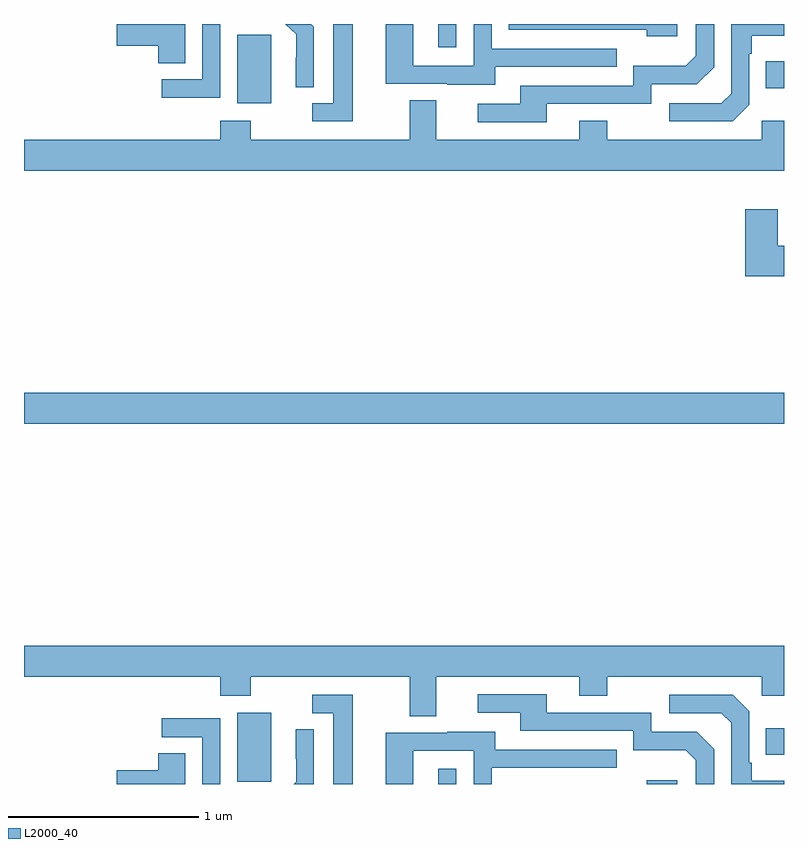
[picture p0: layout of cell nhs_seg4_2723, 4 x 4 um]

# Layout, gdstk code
import gdstk
lib = gdstk.Library(unit=1e-6, precision=1e-09)
def R(c, l, rs):  # rectangles x0, y0, x1, y1
    for r in rs: c.add(gdstk.rectangle(r[:2], r[2:], *l))
def P(c, l, *ps):  # polygons
    for p in ps: c.add(gdstk.Polygon(p, *l))
L2000_40 = (2000, 40)

nhs_seg4_2723 = lib.new_cell('nhs_seg4_2723')
R(nhs_seg4_2723, L2000_40, [(255.179,818.9,255.276,818.98), (256.277,818.9,256.438,818.92), (254.123,818.913,254.302,819.274), (256.903,819.053,257,819.193), (253,820.796,257,820.96), (254.123,822.482,254.302,822.843), (256.903,822.563,257,822.703), (255.179,822.777,255.276,822.9)])
P(nhs_seg4_2723, L2000_40, [(253.849,822.9),(253.488,822.9),(253.488,822.785),(253.706,822.785),(253.706,822.694),(253.849,822.694)],
  [(255.481,822.675),(256.121,822.675),(256.121,822.771),(255.462,822.771),(255.462,822.9),(255.366,822.9),(255.366,822.681),(255.048,822.681),(255.048,822.9),(254.903,822.9),(254.903,822.585),(255.227,822.585),(255.227,822.581),(255.481,822.581)],
  [(255.751,822.48),(256.302,822.48),(256.302,822.582),(256.542,822.582),(256.632,822.672),(256.632,822.9),(256.536,822.9),(256.536,822.732),(256.483,822.679),(256.206,822.679),(256.206,822.576),(255.611,822.576),(255.611,822.48),(255.387,822.48),(255.387,822.384),(255.751,822.384)],
  [(254.731,822.9),(254.627,822.9),(254.627,822.483),(254.517,822.483),(254.517,822.387),(254.731,822.387)],
  [(256.438,822.9),(255.552,822.9),(255.552,822.87),(256.277,822.87),(256.277,822.836),(256.438,822.836)],
  [(254.526,822.886),(254.512,822.9),(254.376,822.9),(254.432,822.845),(254.432,822.722),(254.43,822.722),(254.43,822.568),(254.526,822.568)],
  [(254.034,822.9),(253.938,822.9),(253.938,822.609),(253.725,822.609),(253.725,822.511),(254.034,822.511)],
  [(256.818,822.474),(256.818,822.743),(256.831,822.743),(256.831,822.839),(257,822.839),(257,822.9),(256.722,822.9),(256.722,822.534),(256.671,822.483),(256.395,822.483),(256.395,822.387),(256.731,822.387)],
  [(257,822.391),(256.884,822.391),(256.884,822.292),(256.071,822.292),(256.071,822.391),(255.923,822.391),(255.923,822.292),(255.169,822.292),(255.169,822.5),(255.029,822.5),(255.029,822.292),(254.193,822.292),(254.193,822.391),(254.033,822.391),(254.033,822.292),(253,822.292),(253,822.128),(257,822.128)],
  [(257,821.734),(256.966,821.734),(256.966,821.926),(256.796,821.926),(256.796,821.573),(257,821.573)],
  [(253,819.464),(254.033,819.464),(254.033,819.365),(254.193,819.365),(254.193,819.464),(255.029,819.464),(255.029,819.256),(255.169,819.256),(255.169,819.464),(255.923,819.464),(255.923,819.365),(256.071,819.365),(256.071,819.464),(256.884,819.464),(256.884,819.365),(257,819.365),(257,819.628),(253,819.628)],
  [(256.632,819.084),(256.542,819.174),(256.302,819.174),(256.302,819.276),(255.751,819.276),(255.751,819.372),(255.387,819.372),(255.387,819.276),(255.611,819.276),(255.611,819.18),(256.206,819.18),(256.206,819.077),(256.483,819.077),(256.536,819.024),(256.536,818.9),(256.632,818.9)],
  [(257,818.917),(256.831,818.917),(256.831,819.013),(256.818,819.013),(256.818,819.282),(256.731,819.369),(256.395,819.369),(256.395,819.273),(256.671,819.273),(256.722,819.222),(256.722,818.9),(257,818.9)],
  [(254.731,819.369),(254.517,819.369),(254.517,819.273),(254.627,819.273),(254.627,818.9),(254.731,818.9)],
  [(254.034,819.246),(253.725,819.246),(253.725,819.147),(253.938,819.147),(253.938,818.9),(254.034,818.9)],
  [(254.526,819.188),(254.43,819.188),(254.43,819.034),(254.432,819.034),(254.432,818.912),(254.42,818.9),(254.526,818.9)],
  [(255.048,819.075),(255.366,819.075),(255.366,818.9),(255.462,818.9),(255.462,818.985),(256.121,818.985),(256.121,819.081),(255.481,819.081),(255.481,819.175),(255.227,819.175),(255.227,819.171),(254.903,819.171),(254.903,818.9),(255.048,818.9)],
  [(253.849,819.062),(253.706,819.062),(253.706,818.972),(253.488,818.972),(253.488,818.9),(253.849,818.9)])

lib.write_gds('nhs_seg4_2723.gds')
